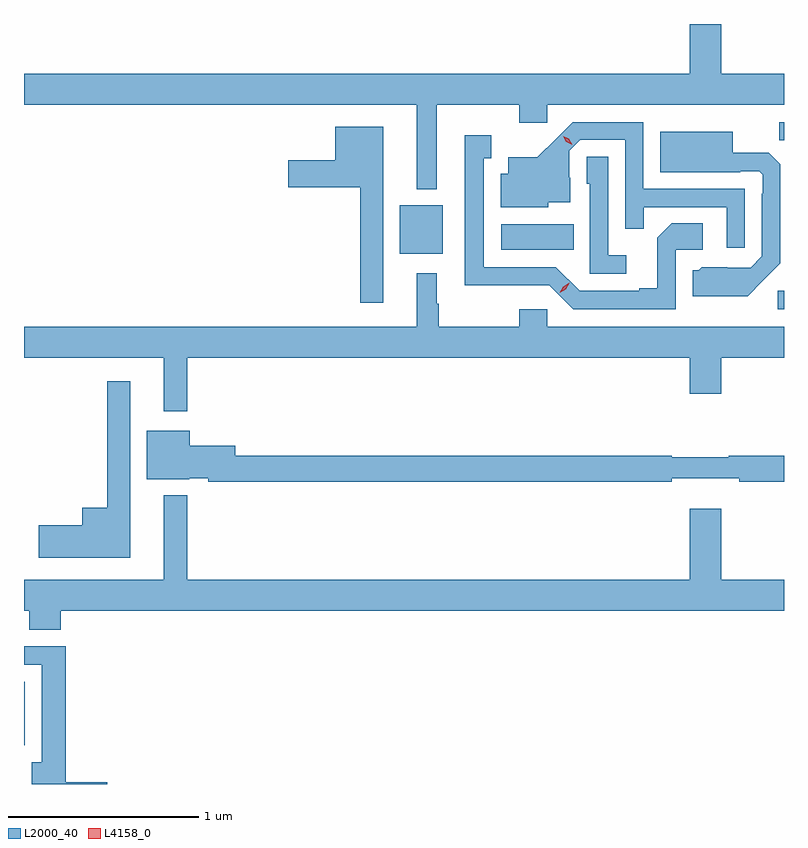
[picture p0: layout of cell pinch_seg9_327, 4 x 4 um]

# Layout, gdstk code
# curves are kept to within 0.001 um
import gdstk
lib = gdstk.Library(unit=1e-6, precision=1e-09)
def R(c, l, rs):  # rectangles x0, y0, x1, y1
    for r in rs: c.add(gdstk.rectangle(r[:2], r[2:], *l))
def P(c, l, *ps):  # polygons
    for p in ps: c.add(gdstk.Polygon(p, *l))
L2000_40 = (2000, 40)
L4158_0 = (4158, 0)

pinch_seg9_327 = lib.new_cell('pinch_seg9_327')
R(pinch_seg9_327, L2000_40, [(593.071,1182.392,593.074,1182.727), (597.039,1184.688,597.071,1184.784), (595.049,1184.981,595.276,1185.235), (595.584,1185.002,595.964,1185.136), (597.046,1185.577,597.071,1185.672)])
P(pinch_seg9_327, L2000_40, [(595.243,1185.764),(595.678,1185.764),(595.678,1185.669),(595.824,1185.669),(595.824,1185.764),(597.071,1185.764),(597.071,1185.928),(596.74,1185.928),(596.74,1186.189),(596.576,1186.189),(596.576,1185.928),(593.071,1185.928),(593.071,1185.764),(595.139,1185.764),(595.139,1185.32),(595.243,1185.32)],
  [(596.865,1185.321),(596.331,1185.321),(596.331,1185.672),(595.958,1185.672),(595.771,1185.487),(595.619,1185.487),(595.619,1185.4),(595.58,1185.4),(595.58,1185.224),(595.83,1185.224),(595.83,1185.251),(595.945,1185.251),(595.945,1185.38),(595.941,1185.38),(595.941,1185.522),(595.998,1185.579),(596.235,1185.579),(596.235,1185.112),(596.333,1185.112),(596.333,1185.225),(596.769,1185.225),(596.769,1185.012),(596.865,1185.012)],
  [(594.961,1185.649),(594.71,1185.649),(594.71,1185.471),(594.462,1185.471),(594.462,1185.329),(594.84,1185.329),(594.84,1184.721),(594.961,1184.721)],
  [(596.959,1184.837),(597.051,1184.93),(597.051,1185.452),(596.992,1185.511),(596.8,1185.511),(596.8,1185.622),(596.42,1185.622),(596.42,1185.41),(596.84,1185.41),(596.84,1185.414),(596.94,1185.414),(596.958,1185.396),(596.958,1185.296),(596.955,1185.296),(596.955,1184.967),(596.895,1184.907),(596.638,1184.908),(596.622,1184.892),(596.591,1184.892),(596.591,1184.756),(596.879,1184.756)],
  [(596.502,1185),(596.644,1185),(596.644,1185.14),(596.479,1185.14),(596.403,1185.064),(596.403,1184.797),(596.309,1184.797),(596.309,1184.784),(595.995,1184.784),(595.869,1184.91),(595.492,1184.91),(595.492,1185.483),(595.531,1185.483),(595.531,1185.604),(595.391,1185.604),(595.391,1184.813),(595.836,1184.814),(595.962,1184.688),(596.502,1184.688)],
  [(596.242,1184.971),(596.145,1184.971),(596.145,1185.491),(596.034,1185.491),(596.034,1185.348),(596.049,1185.348),(596.049,1184.874),(596.242,1184.874)],
  [(593.929,1184.432),(596.576,1184.432),(596.576,1184.244),(596.74,1184.244),(596.74,1184.432),(597.071,1184.432),(597.071,1184.596),(595.824,1184.596),(595.824,1184.689),(595.678,1184.689),(595.678,1184.596),(595.253,1184.596),(595.253,1184.717),(595.243,1184.717),(595.243,1184.878),(595.139,1184.878),(595.139,1184.596),(593.071,1184.596),(593.071,1184.432),(593.807,1184.432),(593.807,1184.151),(593.929,1184.151)],
  [(593.629,1184.308),(593.508,1184.308),(593.508,1183.642),(593.378,1183.642),(593.378,1183.55),(593.148,1183.55),(593.148,1183.379),(593.629,1183.379)],
  [(596.48,1183.799),(596.836,1183.799),(596.836,1183.78),(597.071,1183.78),(597.071,1183.916),(596.78,1183.916),(596.78,1183.909),(596.48,1183.909),(596.48,1183.916),(594.184,1183.916),(594.184,1183.969),(593.944,1183.969),(593.944,1184.047),(593.717,1184.047),(593.717,1183.793),(593.94,1183.793),(593.94,1183.799),(594.04,1183.799),(594.04,1183.78),(596.48,1183.78)],
  [(593.264,1183.1),(597.071,1183.1),(597.071,1183.264),(596.74,1183.264),(596.74,1183.639),(596.576,1183.639),(596.576,1183.264),(593.929,1183.264),(593.929,1183.708),(593.807,1183.708),(593.807,1183.264),(593.071,1183.264),(593.071,1183.1),(593.099,1183.1),(593.099,1183.001),(593.264,1183.001)],
  [(593.509,1182.197),(593.291,1182.197),(593.291,1182.914),(593.071,1182.914),(593.071,1182.816),(593.165,1182.816),(593.165,1182.304),(593.111,1182.304),(593.111,1182.189),(593.509,1182.189)])
P(pinch_seg9_327, L4158_0, [(595.956,1185.554),(595.926,1185.569),(595.908,1185.599),(595.908,1185.599),(595.909,1185.599),(595.939,1185.584),(595.956,1185.554),(595.956,1185.554)],
  [(595.89,1184.774),(595.89,1184.774),(595.908,1184.807),(595.94,1184.826),(595.94,1184.826),(595.94,1184.825),(595.922,1184.793),(595.891,1184.774)])

lib.write_gds('pinch_seg9_327.gds')
